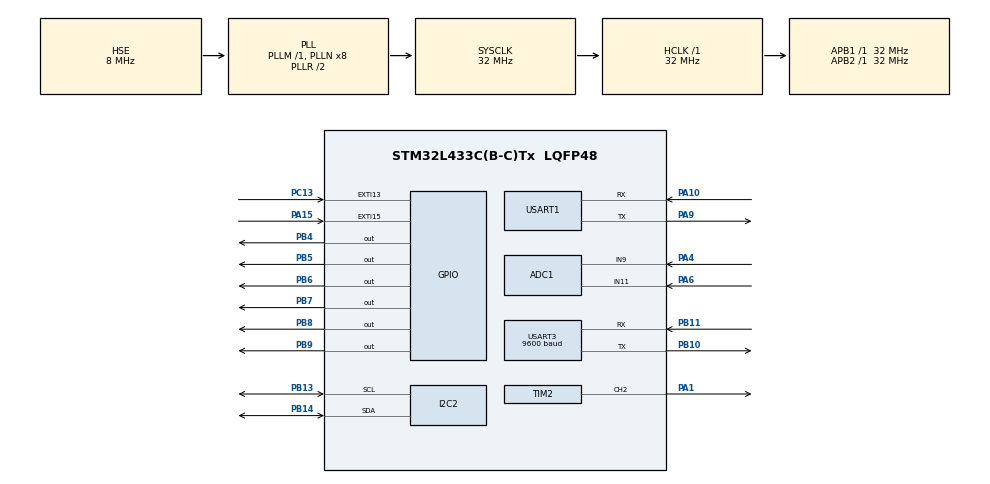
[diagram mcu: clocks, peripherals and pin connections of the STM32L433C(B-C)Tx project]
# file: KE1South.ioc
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ADC1.Channel-0\#ChannelRegularConversion=ADC_CHANNEL_9
ADC1.NbrOfConversionFlag=1
ADC1.OffsetNumber-0\#ChannelRegularConversion=ADC_OFFSET_NONE
ADC1.Rank-0\#ChannelRegularConversion=1
ADC1.SamplingTime-0\#ChannelRegularConversion=ADC_SAMPLETIME_2CYCLES_5
ADC1.master=1
Dma.ADC1.0.Direction=DMA_PERIPH_TO_MEMORY
Dma.ADC1.0.Instance=DMA1_Channel1
Dma.ADC1.0.MemDataAlignment=DMA_MDATAALIGN_HALFWORD
Dma.ADC1.0.MemInc=DMA_MINC_ENABLE
Dma.ADC1.0.Mode=DMA_NORMAL
Dma.ADC1.0.PeriphDataAlignment=DMA_PDATAALIGN_HALFWORD
Dma.ADC1.0.PeriphInc=DMA_PINC_DISABLE
Dma.ADC1.0.Priority=DMA_PRIORITY_LOW
Dma.Request0=ADC1
I2C2.Timing=0x00707CBB
Mcu.Family=STM32L4
Mcu.Name=STM32L433C(B-C)Tx
Mcu.Package=LQFP48
NVIC.DMA1_Channel1_IRQn=true\:0\:0\:false\:false\:true\:false\:true
NVIC.EXTI15_10_IRQn=true\:4\:0\:true\:false\:true\:true\:true
NVIC.PriorityGroup=NVIC_PRIORITYGROUP_4
NVIC.USART1_IRQn=true\:3\:0\:true\:false\:true\:true\:true
NVIC.USART3_IRQn=true\:1\:0\:true\:false\:true\:true\:true
PA1.Signal=S_TIM2_CH2
PA10.Mode=Asynchronous
PA10.Signal=USART1_RX
PA15\ (JTDI).GPIO_PuPd=GPIO_PULLUP
PA15\ (JTDI).Signal=GPXTI15
PA4.Signal=ADCx_IN9
PA6.Signal=ADCx_IN11
PA9.Mode=Asynchronous
PA9.Signal=USART1_TX
PB10.Mode=Asynchronous
PB10.Signal=USART3_TX
PB11.Mode=Asynchronous
PB11.Signal=USART3_RX
PB13.Mode=I2C
PB13.Signal=I2C2_SCL
PB14.Mode=I2C
PB14.Signal=I2C2_SDA
PB4\ (NJTRST).PinState=GPIO_PIN_RESET
PB4\ (NJTRST).Signal=GPIO_Output
PB5.PinState=GPIO_PIN_SET
PB5.Signal=GPIO_Output
PB6.PinState=GPIO_PIN_SET
PB6.Signal=GPIO_Output
PB7.PinState=GPIO_PIN_SET
PB7.Signal=GPIO_Output
PB8.Signal=GPIO_Output
PB9.Signal=GPIO_Output
PC13.GPIO_PuPd=GPIO_PULLUP
PC13.Signal=GPXTI13
PH0-OSC_IN\ (PH0).Mode=HSE-External-Oscillator
PH0-OSC_IN\ (PH0).Signal=RCC_OSC_IN
PH1-OSC_OUT\ (PH1).Mode=HSE-External-Oscillator
PH1-OSC_OUT\ (PH1).Signal=RCC_OSC_OUT
ProjectManager.HeapSize=0x200
ProjectManager.StackSize=0x400
ProjectManager.TargetToolchain=STM32CubeIDE
RCC.ADCFreq_Value=64000000
RCC.AHBFreq_Value=32000000
RCC.APB1Freq_Value=32000000
RCC.APB1TimFreq_Value=32000000
RCC.APB2Freq_Value=32000000
RCC.APB2TimFreq_Value=32000000
RCC.CortexFreq_Value=32000000
RCC.HCLKFreq_Value=32000000
RCC.HSE_VALUE=8000000
RCC.HSI48_VALUE=48000000
RCC.HSI_VALUE=16000000
RCC.LSE_VALUE=32768
RCC.MSI_VALUE=4000000
RCC.PLLSAI1N=16
RCC.PLLSourceVirtual=RCC_PLLSOURCE_HSE
RCC.SYSCLKFreq_VALUE=32000000
RCC.SYSCLKSource=RCC_SYSCLKSOURCE_PLLCLK
RCC.USBFreq_Value=64000000
RCC.VCOOutputFreq_Value=64000000
SH.ADCx_IN11.0=ADC1_IN11,IN11-Single-Ended
SH.ADCx_IN9.0=ADC1_IN9,IN9-Single-Ended
SH.S_TIM2_CH2.0=TIM2_CH2,PWM Generation2 CH2
TIM2.Channel-PWM\ Generation2\ CH2=TIM_CHANNEL_2
TIM2.Period=370-1
TIM2.Prescaler=32-1
TIM2.Pulse-PWM\ Generation2\ CH2=180
USART1.VirtualMode-Asynchronous=VM_ASYNC
USART3.BaudRate=9600
USART3.VirtualMode-Asynchronous=VM_ASYNC
board=custom

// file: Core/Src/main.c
/* USER CODE BEGIN Header */
/**
 ******************************************************************************
 * @file           : main.c
 * @brief          : Main program body
 ******************************************************************************
 * @attention
 *
 * <h2><center>&copy; Copyright (c) 2019 STMicroelectronics.
 * All rights reserved.</center></h2>
 *
 * This software component is licensed by ST under BSD 3-Clause license,
 * the "License"; You may not use this file except in compliance with the
 * License. You may obtain a copy of the License at:
 *                        opensource.org/licenses/BSD-3-Clause
 *
 ******************************************************************************
 */
/* USER CODE END Header */

#include "main.h"
#include "adc.h"
#include "dma.h"
#include "i2c.h"
#include "tim.h"
#include "usart.h"
#include "gpio.h"

/* USER CODE BEGIN Includes */
#include <stdio.h>
#include <string.h>
#include <stdlib.h>
#include "oled.h"
/* USER CODE END Includes */

void SystemClock_Config(void);

/* USER CODE BEGIN 0 */
int KE1_Parse_NNMI(char *pcNNMI, char *pcOut)
{
	char ch = 0, lenFlag = 0, dataFlag = 0;
	char acLen[5] = {0};
	int i = 0, pos = 0, dLen = 0;
	//+NNMI:6,010009020000
	for(i=0; i<strlen(pcNNMI); i++){
		ch = pcNNMI[i];
		if(0x0D == ch && 1 == dataFlag) break;

		if(':' == ch){
			lenFlag = 1; pos = 0;
			continue;
		}
		if(',' == ch){
			lenFlag = 0;
			dataFlag = 1; pos = 0;
			dLen = atoi(acLen);
			continue;
		}
		if(1 == lenFlag){
			acLen[pos++] = ch;
		}
		if(1 == dataFlag){
			pcOut[pos++] = ch;
		}
	}
	return dLen;
}

void ascii2hex(char *pcAscii, char *pcHex)
{
	int iDlen = 0, i = 0, pos = 0;
	iDlen = strlen(pcAscii);
	if(128 < iDlen) return;
	for(i=0; i<iDlen; i++){
		sprintf(&pcHex[pos], "%02X", pcAscii[i]);
		pos += 2;
	}
}
extern unsigned char key1, key2;
char acDevInfo[128] = {0}, acHexBuf[256] = {0}, acAtBuf[512] = {0}, acUserCmd[64] = {0};
/* USER CODE END 0 */

int main(void)
{
	/* USER CODE BEGIN 1 */
	float fTemp = 34.2, fHumi = 0.0;
	unsigned short usLight = 0, usSound = 0;
	int iUserCase = 0, iRet = -1;
	char netFlag = 0, cmdLen = 0;
	unsigned int atLen = 0, dLen = 0, timeout = 1000, upFreq = 0;
	/* USER CODE END 1 */

	/* MCU Configuration--------------------------------------------------------*/

	/* Reset of all peripherals, Initializes the Flash interface and the Systick. */
	HAL_Init();

	/* Configure the system clock */
	SystemClock_Config();

	/* Initialize all configured peripherals */
	MX_GPIO_Init();
	MX_DMA_Init();
	MX_ADC1_Init();
	MX_USART1_UART_Init();
	MX_USART3_UART_Init();
	MX_I2C2_Init();
	MX_TIM2_Init();
	/* USER CODE BEGIN 2 */
	Beep_Switch(1);
	HAL_Delay(500);
	Beep_Switch(0);

	UART_Enable_Receive_IT();// 使能串口接收中断，开始接收数据

	OLED_Init(); // 初始化OLDE

	OLED_DrawLogo(); // 显示bmp单色logo图片
	HAL_Delay(2000);
	OLED_ShowString(0, 0, (uint8_t *)"OLED Demo", 8);// 显示丿行英文字笿
	HAL_Delay(2000);

	OLED_ShowKE1(); // 显示 小熊座KE1
	HAL_Delay(2000);

	OLED_Clear(); // 清屏

	printf("Hello! i am KE1 south demo V0.0.2\r\n");
	HAL_Delay(500);
	KE1_I2C_SHT31(&fTemp, &fHumi);
	printf("T:%0.2f, H:%0.2f%%\r\n", fTemp, fHumi);
	KE1_ADC_Senser_Get(&usLight, &usSound);

	OLED_ShowT_H(fTemp, fHumi); // OLED显示温湿度
	/* USER CODE END 2 */

	/* Infinite loop */
	while (1)
	{

		/* USER CODE BEGIN 3 */
		if(1 == key1){
			key1 = 0;
			printf("key1 touch!\r\n");
		}
		if(1 == key2){
			key2 = 0;
			printf("key2 touch!\r\n");
		}
		printf("case %d\r\n", iUserCase);
		switch(iUserCase){
		case 0:
			KE1_Clear_AT_Buf();
			iUserCase = 1;
			break;
		case 1:
			KE1_Send_AT("AT\r\n"); // AT测试模组
			break;
		case 2:
			KE1_Send_AT("AT+CFUN=0\r\n"); // 关闭模组
			timeout = 10000;
			break;
		case 3:
			KE1_Send_AT("AT+NCDP=180.101.147.115,5683\r\n"); // 设置电信物联网南向接口地�?
			break;
		case 4:
			KE1_Send_AT("AT+CFUN=1\r\n"); // 启动模块
			timeout = 10000;
			break;
		case 5:
			KE1_Send_AT("AT+CGDCONT=1,\"IP\",\"CTNB\"\r\n"); // 设置PDP
			timeout = 1000;
			break;
		case 6:
			KE1_Send_AT("AT+CGATT=1\r\n"); // 模块弿始注册网绿
			break;
		case 7:
			if(0 == upFreq && 1 == netFlag){
				KE1_I2C_SHT31(&fTemp, &fHumi); // 采集温湿度或者其他信息上传到电信物联网平�?
				KE1_ADC_Senser_Get(&usLight, &usSound);
				memset(acDevInfo, 0, sizeof(acDevInfo));
				memset(acAtBuf, 0, sizeof(acAtBuf));
				OLED_ShowT_H(fTemp, fHumi);
				dLen = snprintf(acDevInfo, sizeof(acDevInfo), "{\"T\":\"%0.2f\",\"H\":\"%0.2f\",\"L\":\"%d\",\"S\":\"%d\"}", fTemp, fHumi, usLight,usSound);// 打包用户数据
				printf("%s\r\n", acDevInfo);
				ascii2hex(acDevInfo, acHexBuf);
				snprintf(acAtBuf, sizeof(acAtBuf), "AT+NMGS=%d,00%04X%s\r\n", (dLen+3), dLen, acHexBuf);// 打包COAP数据包AT命令
				printf("%s\r\n", acAtBuf);
				KE1_Send_AT(acAtBuf);
				upFreq = (60*60);
			}
			break;
		}

		atLen = sizeof(acAtBuf);
		iRet = KE1_Recv_AT(acAtBuf, &atLen, timeout);
		//printf("\r\nRAT:%d\r\n",iRet);
		if(0 == iRet){//AT命令响应超时

		}else if(1 == iRet){//AT命令接收到OK响应
			if(7 == iUserCase){
			}else{
				iUserCase++;
			}
			HAL_Delay(1000);
		}else if(2 == iRet){//AT命令接收到ERROR响应
			printf("AT error !\r\n");
			if(7 == iUserCase){
				iUserCase = 0; // 重新初始化模�?
			}
			HAL_Delay(1000);
		}else if(3 == iRet){//接收到网络已注册提示
			printf("Net ready !\r\n");
			netFlag = 1;
			HAL_Delay(5000);
		}else if(4 == iRet){//AT命令接收到电信物联网平台下发数据
			printf("%s", acAtBuf);
			memset(acUserCmd, 0, sizeof(acUserCmd));
			cmdLen = KE1_Parse_NNMI(acAtBuf, acUserCmd);
			printf("user data[%d]:%s\r\n", cmdLen, acUserCmd);
			if(strstr(acUserCmd, "AAAA0000")){
				printf("device info upload successfully\r\n");
			}else{
				/*
				 * 解析用户命令执行对应操作
				 * TO-DO
				 */
				HAL_GPIO_TogglePin(GPIOB, GPIO_PIN_5|GPIO_PIN_6|GPIO_PIN_7);
				HAL_Delay(1000);

				/* 向平台发送命令响�?
				 * AT+NMGS=5,02000A000A
				 */
				acUserCmd[1] = '2';
				acUserCmd[6] = '0';acUserCmd[7] = '0';acUserCmd[8] = '0';acUserCmd[9] = '0';acUserCmd[10] = 0;
				printf("CmdResp:%s\r\n", acUserCmd);
				snprintf(acAtBuf, sizeof(acAtBuf), "AT+NMGS=%d,%s\r\n", 5, acUserCmd);// 打包COAP数据包AT命令
				KE1_Send_AT(acAtBuf);
			}

		}

		if(0 != upFreq) upFreq--;
	}
	/* USER CODE END 3 */
}

void SystemClock_Config(void)
{
	RCC_OscInitTypeDef RCC_OscInitStruct = {0};
	RCC_ClkInitTypeDef RCC_ClkInitStruct = {0};
	RCC_PeriphCLKInitTypeDef PeriphClkInit = {0};

	/** Initializes the CPU, AHB and APB busses clocks
	 */
	RCC_OscInitStruct.OscillatorType = RCC_OSCILLATORTYPE_HSE;
	RCC_OscInitStruct.HSEState = RCC_HSE_ON;
	RCC_OscInitStruct.PLL.PLLState = RCC_PLL_ON;
	RCC_OscInitStruct.PLL.PLLSource = RCC_PLLSOURCE_HSE;
	RCC_OscInitStruct.PLL.PLLM = 1;
	RCC_OscInitStruct.PLL.PLLN = 8;
	RCC_OscInitStruct.PLL.PLLP = RCC_PLLP_DIV7;
	RCC_OscInitStruct.PLL.PLLQ = RCC_PLLQ_DIV2;
	RCC_OscInitStruct.PLL.PLLR = RCC_PLLR_DIV2;
	if (HAL_RCC_OscConfig(&RCC_OscInitStruct) != HAL_OK)
	{
		Error_Handler();
	}
	/** Initializes the CPU, AHB and APB busses clocks
	 */
	RCC_ClkInitStruct.ClockType = RCC_CLOCKTYPE_HCLK|RCC_CLOCKTYPE_SYSCLK
			|RCC_CLOCKTYPE_PCLK1|RCC_CLOCKTYPE_PCLK2;
	RCC_ClkInitStruct.SYSCLKSource = RCC_SYSCLKSOURCE_PLLCLK;
	RCC_ClkInitStruct.AHBCLKDivider = RCC_SYSCLK_DIV1;
	RCC_ClkInitStruct.APB1CLKDivider = RCC_HCLK_DIV1;
	RCC_ClkInitStruct.APB2CLKDivider = RCC_HCLK_DIV1;

	if (HAL_RCC_ClockConfig(&RCC_ClkInitStruct, FLASH_LATENCY_1) != HAL_OK)
	{
		Error_Handler();
	}
	PeriphClkInit.PeriphClockSelection = RCC_PERIPHCLK_USART1|RCC_PERIPHCLK_USART3
			|RCC_PERIPHCLK_I2C2|RCC_PERIPHCLK_ADC;
	PeriphClkInit.Usart1ClockSelection = RCC_USART1CLKSOURCE_PCLK2;
	PeriphClkInit.Usart3ClockSelection = RCC_USART3CLKSOURCE_PCLK1;
	PeriphClkInit.I2c2ClockSelection = RCC_I2C2CLKSOURCE_PCLK1;
	PeriphClkInit.AdcClockSelection = RCC_ADCCLKSOURCE_PLLSAI1;
	PeriphClkInit.PLLSAI1.PLLSAI1Source = RCC_PLLSOURCE_HSE;
	PeriphClkInit.PLLSAI1.PLLSAI1M = 1;
	PeriphClkInit.PLLSAI1.PLLSAI1N = 16;
	PeriphClkInit.PLLSAI1.PLLSAI1P = RCC_PLLP_DIV7;
	PeriphClkInit.PLLSAI1.PLLSAI1Q = RCC_PLLQ_DIV2;
	PeriphClkInit.PLLSAI1.PLLSAI1R = RCC_PLLR_DIV2;
	PeriphClkInit.PLLSAI1.PLLSAI1ClockOut = RCC_PLLSAI1_ADC1CLK;
	if (HAL_RCCEx_PeriphCLKConfig(&PeriphClkInit) != HAL_OK)
	{
		Error_Handler();
	}
	/** Configure the main internal regulator output voltage
	 */
	if (HAL_PWREx_ControlVoltageScaling(PWR_REGULATOR_VOLTAGE_SCALE1) != HAL_OK)
	{
		Error_Handler();
	}
}

void Error_Handler(void)
{
}

/************************ (C) COPYRIGHT STMicroelectronics *****END OF FILE****/
